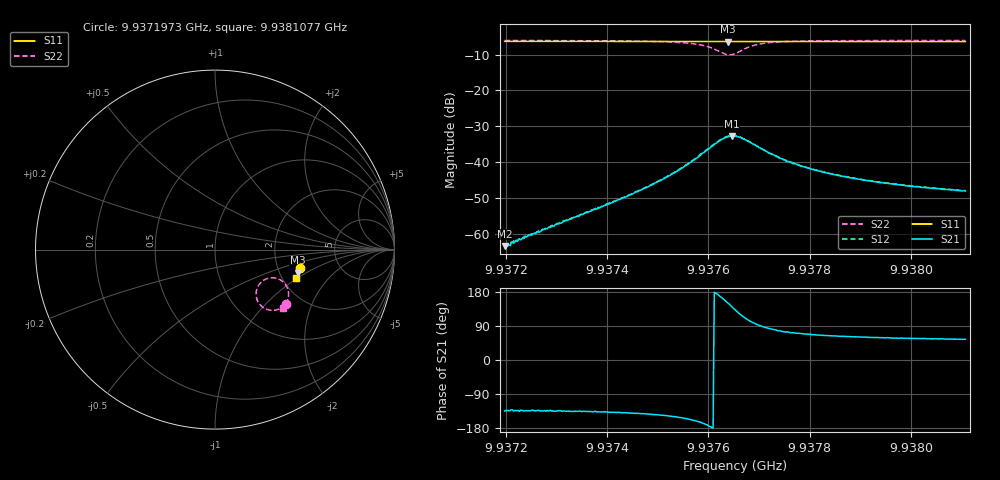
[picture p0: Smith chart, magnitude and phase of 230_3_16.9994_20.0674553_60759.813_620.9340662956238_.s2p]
#  HZ  S  RI  R  50.00
! Rohde & Schwarz Vector Network Analyzer
! Rohde-Schwarz,ZNB20-2Port,1311601062101988,3.16
! Created: UTC 3/20/2024, 11:02:21 PM
! freq[Hz]  re:S11  im:S11  re:S21  im:S21  re:S12  im:S12  re:S22  im:S22
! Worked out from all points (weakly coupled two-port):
!   401 points, 9.9371973 GHz to 9.9381077 GHz, reference 50 ohm
!   highest |S21| = -32.71 dB at 9.9376457 GHz (marker M1); lowest = -63.4 dB at 9.9371973 GHz (marker M2)
!   lowest |S11| = -6.4 dB at 9.9376388 GHz (marker M3), VSWR 2.84, Z = 126 - j41.9 ohm
!   |S11| at or under -10 dB: nowhere
!   |S22| runs from -10.1 to -6.1 dB; largest |S21 - S12| = 0.00099
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9.93719725e9  0.4735 -0.1  -0.000474 -0.000482  -0.000451 -0.000499  0.3945 -0.3035
9.93720408e9  0.4733 -0.1005  -0.000463 -0.000494  -0.000495 -0.000492  0.3939 -0.3044
9.93721546e9  0.4732 -0.1013  -0.000524 -0.000526  -0.000558 -0.000571  0.3932 -0.3051
9.9372405e9  0.4726 -0.1028  -0.000625 -0.000652  -0.000641 -0.000644  0.391 -0.3072
9.93734976e9  0.4704 -0.1104  -0.00134 -0.00129  -0.00134 -0.00128  0.3798 -0.3169
9.93743398e9  0.4685 -0.116  -0.00244 -0.00213  -0.0025 -0.00209  0.3658 -0.3262
9.93750227e9  0.4669 -0.1208  -0.00444 -0.00308  -0.00458 -0.00311  0.3454 -0.3348
9.93755007e9  0.4656 -0.124  -0.00755 -0.00381  -0.00777 -0.00375  0.3173 -0.3384
9.93759104e9  0.4641 -0.1268  -0.0133 -0.0029  -0.0137 -0.00248  0.2706 -0.3242
9.93762063e9  0.4625 -0.1282  -0.0192 0.00329  -0.0196 0.00394  0.2308 -0.2667
9.93763884e9  0.4618 -0.1283  -0.0196 0.0114  -0.0196 0.0122  0.2407 -0.2023
9.93764567e9  0.462 -0.1284  -0.018 0.0145  -0.0177 0.0154  0.258 -0.181
9.9376525e9  0.462 -0.1285  -0.0156 0.0169  -0.0153 0.0176  0.2806 -0.166
9.93766616e9  0.4622 -0.1288  -0.00979 0.0191  -0.00936 0.0197  0.3288 -0.1575
9.93767981e9  0.4624 -0.1297  -0.00483 0.0187  -0.00432 0.0191  0.3663 -0.1705
9.93770713e9  0.4625 -0.1318  0.000468 0.015  0.00101 0.0151  0.4013 -0.209
9.93775265e9  0.462 -0.1354  0.00296 0.01  0.00308 0.0102  0.4101 -0.2523
9.93780501e9  0.4609 -0.1391  0.0031 0.00731  0.00329 0.00731  0.4059 -0.2776
9.93787102e9  0.4592 -0.1435  0.0029 0.0055  0.00305 0.00551  0.3986 -0.2947
9.93795751e9  0.4571 -0.1493  0.00263 0.00427  0.00272 0.00424  0.3904 -0.3082
9.93802352e9  0.4554 -0.1536  0.00244 0.00371  0.00256 0.00373  0.3852 -0.3154
9.93810774e9  0.4531 -0.1591  0.00229 0.00323  0.00239 0.00325  0.3787 -0.323
